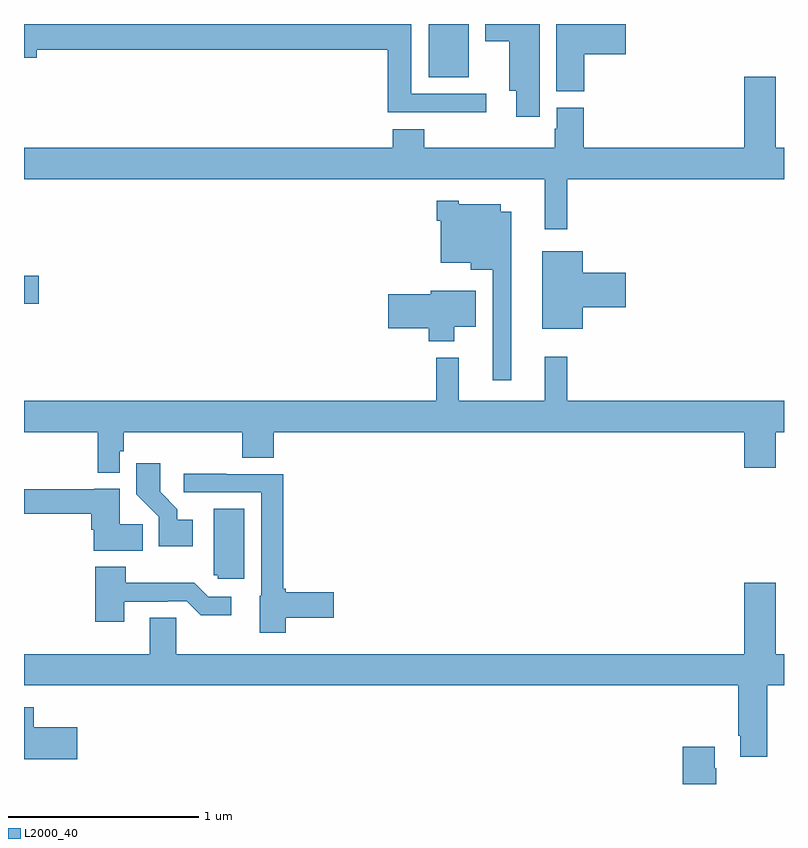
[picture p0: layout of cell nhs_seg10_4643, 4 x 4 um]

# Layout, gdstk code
import gdstk
lib = gdstk.Library(unit=1e-6, precision=1e-09)
def R(c, l, rs):  # rectangles x0, y0, x1, y1
    for r in rs: c.add(gdstk.rectangle(r[:2], r[2:], *l))
def P(c, l, *ps):  # polygons
    for p in ps: c.add(gdstk.Polygon(p, *l))
L2000_40 = (2000, 40)

nhs_seg10_4643 = lib.new_cell('nhs_seg10_4643')
R(nhs_seg10_4643, L2000_40, [(377,1265.027,377.077,1265.174), (379.13,1266.221,379.342,1266.5)])
P(nhs_seg10_4643, L2000_40, [(379.949,1266.341),(380.167,1266.341),(380.167,1266.5),(379.802,1266.5),(379.802,1266.145),(379.949,1266.145)],
  [(379.432,1266.132),(379.039,1266.132),(379.039,1266.5),(377,1266.5),(377,1266.322),(377.068,1266.322),(377.068,1266.364),(378.914,1266.364),(378.914,1266.035),(379.432,1266.035)],
  [(379.714,1266.5),(379.427,1266.5),(379.427,1266.41),(379.553,1266.41),(379.553,1266.149),(379.592,1266.149),(379.592,1266.012),(379.714,1266.012)],
  [(381,1265.848),(380.956,1265.848),(380.956,1266.223),(380.792,1266.223),(380.792,1265.848),(379.946,1265.848),(379.946,1266.06),(379.805,1266.06),(379.805,1265.949),(379.793,1265.949),(379.793,1265.848),(379.106,1265.848),(379.106,1265.947),(378.941,1265.947),(378.941,1265.848),(377,1265.848),(377,1265.684),(379.741,1265.684),(379.741,1265.421),(379.859,1265.421),(379.859,1265.684),(381,1265.684)],
  [(379.564,1265.512),(379.51,1265.512),(379.51,1265.551),(379.287,1265.551),(379.287,1265.569),(379.172,1265.569),(379.172,1265.465),(379.193,1265.465),(379.193,1265.243),(379.352,1265.243),(379.352,1265.207),(379.467,1265.207),(379.467,1264.626),(379.564,1264.626)],
  [(379.942,1265.009),(380.167,1265.009),(380.167,1265.192),(379.942,1265.192),(379.942,1265.305),(379.727,1265.305),(379.727,1264.895),(379.942,1264.895)],
  [(379.264,1264.907),(379.378,1264.907),(379.378,1265.095),(379.142,1265.095),(379.142,1265.078),(378.918,1265.078),(378.918,1264.9),(379.13,1264.9),(379.13,1264.829),(379.264,1264.829)],
  [(377.505,1264.251),(377.525,1264.251),(377.525,1264.352),(378.149,1264.352),(378.149,1264.216),(378.314,1264.216),(378.314,1264.352),(380.792,1264.352),(380.792,1264.164),(380.956,1264.164),(380.956,1264.352),(381,1264.352),(381,1264.516),(379.859,1264.516),(379.859,1264.75),(379.742,1264.75),(379.742,1264.516),(379.289,1264.516),(379.289,1264.744),(379.171,1264.744),(379.171,1264.516),(377,1264.516),(377,1264.352),(377.389,1264.352),(377.389,1264.139),(377.505,1264.139)],
  [(377.887,1263.892),(377.806,1263.892),(377.806,1263.947),(377.716,1264.037),(377.716,1264.189),(377.59,1264.189),(377.59,1264.026),(377.709,1263.907),(377.709,1263.752),(377.887,1263.752)],
  [(378.378,1263.374),(378.631,1263.374),(378.631,1263.509),(378.378,1263.509),(378.378,1263.527),(378.365,1263.527),(378.365,1264.131),(378.065,1264.131),(378.065,1264.134),(377.841,1264.134),(377.841,1264.035),(378.249,1264.035),(378.249,1263.492),(378.242,1263.492),(378.242,1263.296),(378.378,1263.296)],
  [(377.624,1263.866),(377.503,1263.866),(377.503,1264.054),(377.37,1264.054),(377.37,1264.051),(377,1264.051),(377,1263.922),(377.354,1263.922),(377.354,1263.839),(377.366,1263.839),(377.366,1263.728),(377.624,1263.728)],
  [(378.16,1263.949),(377.999,1263.949),(377.999,1263.6),(378.021,1263.6),(378.021,1263.579),(378.16,1263.579)],
  [(377.527,1263.459),(377.756,1263.459),(377.756,1263.462),(377.856,1263.462),(377.929,1263.389),(378.091,1263.389),(378.091,1263.486),(377.97,1263.486),(377.897,1263.559),(377.535,1263.559),(377.535,1263.643),(377.375,1263.643),(377.375,1263.354),(377.527,1263.354)],
  [(380.911,1263.02),(381,1263.02),(381,1263.184),(380.956,1263.184),(380.956,1263.559),(380.792,1263.559),(380.792,1263.184),(377.802,1263.184),(377.802,1263.374),(377.663,1263.374),(377.663,1263.184),(377,1263.184),(377,1263.02),(380.759,1263.02),(380.759,1262.755),(380.771,1262.755),(380.771,1262.643),(380.911,1262.643)],
  [(377.281,1262.8),(377.05,1262.8),(377.05,1262.905),(377,1262.905),(377,1262.63),(377.281,1262.63)],
  [(380.643,1262.582),(380.635,1262.582),(380.635,1262.695),(380.468,1262.695),(380.468,1262.5),(380.643,1262.5)])

lib.write_gds('nhs_seg10_4643.gds')
